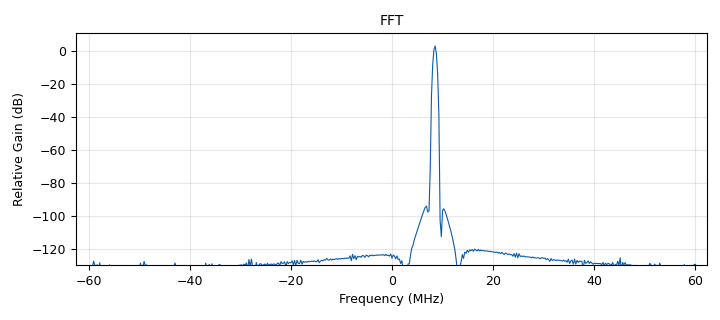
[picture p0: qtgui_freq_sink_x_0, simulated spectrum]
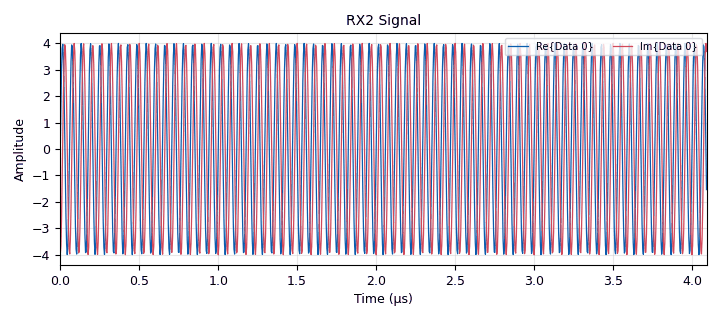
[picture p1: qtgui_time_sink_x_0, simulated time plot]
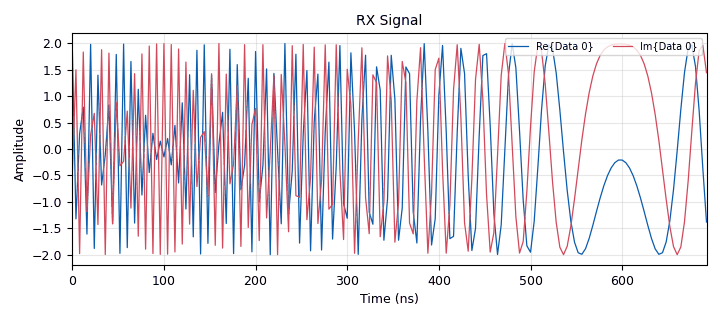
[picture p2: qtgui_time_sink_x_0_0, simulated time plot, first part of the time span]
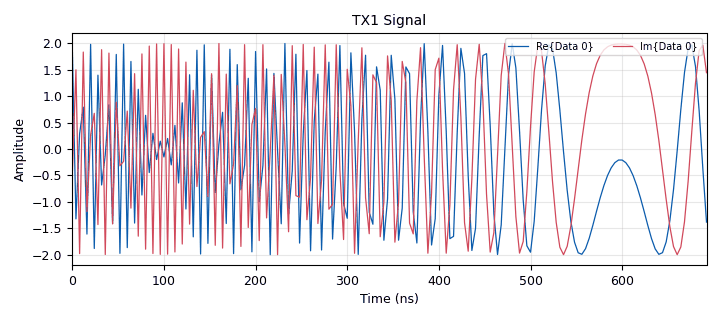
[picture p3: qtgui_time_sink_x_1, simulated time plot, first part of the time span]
options:
  parameters:
    author: haocheng
    generate_options: qt_gui
    id: FMCW_Sim
    output_language: python
    title: FMCW_Simulation
  states: {}

blocks:
- name: SweepTime
  id: variable
  parameters:
    comment: FMCW sweep time, frequency=1/sweeptime
    value: '1e-5'
  states: {}
- name: Sweeptime
  id: variable_qtgui_range
  parameters:
    label: Sweep Time (s)
    orient: Qt.Horizontal
    start: '1e-6'
    step: '1e-6'
    stop: '1e-2'
    value: '1e-6'
  states: {}
- name: USRP_frequency
  id: variable
  parameters:
    value: 4e9
  states: {}
- name: amplitude
  id: variable
  parameters:
    value: '2'
  states: {}
- name: bandwidth
  id: variable
  parameters:
    value: 125e6
  states: {}
- name: delay_samp
  id: variable_qtgui_range
  parameters:
    label: Delay Samples
    orient: Qt.Horizontal
    rangeType: int
    start: '0'
    step: '1'
    stop: '10000'
    value: '17'
  states: {}
- name: rx_gain
  id: variable
  parameters:
    value: '40'
  states: {}
- name: samp_rate
  id: variable
  parameters:
    value: int(250e6)
  states: {}
- name: tx_gain
  id: variable
  parameters:
    value: '40'
  states: {}
- name: analog_sig_source_x_0
  id: analog_sig_source_x
  parameters:
    amp: amplitude
    freq: 1/Sweeptime
    offset: '0'
    phase: '0'
    samp_rate: samp_rate
    type: float
    waveform: analog.GR_SAW_WAVE
  states: {}
- name: blocks_delay_0
  id: blocks_delay
  parameters:
    delay: delay_samp
    type: complex
  states: {}
- name: blocks_head_0
  id: blocks_head
  parameters:
    comment: N_head = T_capture * Fs
    num_items: int(25e6)
    type: complex
  states: {}
- name: blocks_multiply_conjugate_cc_0
  id: blocks_multiply_conjugate_cc
  parameters: {}
  states: {}
- name: blocks_skiphead_0
  id: blocks_skiphead
  parameters:
    comment: N_skip = T_stable * Fs
    num_items: int(2.5e6)
    type: complex
  states: {}
- name: blocks_vco_c_0
  id: blocks_vco_c
  parameters:
    amplitude: amplitude
    comment: |-
      sensitivity=(2pi*bandwidth)/voltage range
      V_max = signal Amplitude
      V_min = V_max - offset
    minoutbuf: '24000'
    samp_rate: samp_rate
    sensitivity: bandwidth*cmath.pi*2
  states: {}
- name: import_0_0
  id: import
  parameters:
    imports: import cmath
  states: {}
- name: low_pass_filter_0
  id: low_pass_filter
  parameters:
    beta: '6.26'
    comment: cutoff frequency = 2BR_max / c T_sweep
    cutoff_freq: bandwidth
    decim: '1'
    gain: '1'
    samp_rate: samp_rate
    type: fir_filter_ccf
    width: 30e3
    win: firdes.WIN_HAMMING
  states: {}
- name: qtgui_freq_sink_x_0
  id: qtgui_freq_sink_x
  parameters:
    autoscale: 'True'
    average: '0.2'
    bw: bandwidth
    fc: '0'
    fftsize: '512'
    grid: 'True'
    name: '"FFT"'
    type: complex
    update_time: '0.2'
    wintype: firdes.WIN_BLACKMAN_hARRIS
  states: {}
- name: qtgui_time_sink_x_0
  id: qtgui_time_sink_x
  parameters:
    autoscale: 'True'
    name: '"RX2 Signal"'
    size: '1024'
    srate: samp_rate
    type: complex
  states: {}
- name: qtgui_time_sink_x_0_0
  id: qtgui_time_sink_x
  parameters:
    autoscale: 'True'
    name: '"RX Signal"'
    size: '1024'
    srate: samp_rate
    type: complex
  states: {}
- name: qtgui_time_sink_x_1
  id: qtgui_time_sink_x
  parameters:
    autoscale: 'True'
    name: '"TX1 Signal"'
    size: '1024'
    srate: samp_rate
    type: complex
  states: {}
- name: uhd_usrp_sink_1
  id: uhd_usrp_sink
  parameters:
    ant0: '"TX/RX"'
    bw0: bandwidth
    center_freq0: USRP_frequency
    clock_source0: external
    dev_addr: '"addr0=192.168.120.2, master_clock_rate=250e6"'
    gain0: tx_gain
    minoutbuf: '24000'
    norm_gain0: 'False'
    samp_rate: samp_rate
    sd_spec0: '"A:0"'
    sync: none
    time_source0: external
    type: fc32
  states: {state: disabled}
- name: uhd_usrp_source_0_0
  id: uhd_usrp_source
  parameters:
    ant0: RX2
    bw0: bandwidth
    center_freq0: USRP_frequency
    clock_source0: external
    comment: |-
      uhd.tune_request(usrp_freq, rf_freq = usrp_freq - lo_offset, rf_freq_policy=uhd.tune_request.POLICY_MANUAL)
      recv_frame_size=65536,num_recv_frames=1024
    dc_offs_enb0: 'True'
    dev_addr: '"addr=192.168.120.2,master_clock_rate=250e6"'
    gain0: rx_gain
    iq_imbal_enb0: 'True'
    minoutbuf: '24000'
    norm_gain0: 'False'
    samp_rate: samp_rate
    sd_spec0: '"A:0"'
    sync: pc_clock
    time_source0: external
    type: fc32
  states: {state: disabled}
- name: virtual_sink_0
  id: virtual_sink
  parameters:
    stream_id: Saw Tooth
  states: {}

connections:
- [analog_sig_source_x_0, '0', blocks_vco_c_0, '0']
- [analog_sig_source_x_0, '0', virtual_sink_0, '0']
- [blocks_delay_0, '0', blocks_multiply_conjugate_cc_0, '1']
- [blocks_head_0, '0', low_pass_filter_0, '0']
- [blocks_multiply_conjugate_cc_0, '0', blocks_skiphead_0, '0']
- [blocks_skiphead_0, '0', blocks_head_0, '0']
- [blocks_vco_c_0, '0', blocks_delay_0, '0']
- [blocks_vco_c_0, '0', blocks_multiply_conjugate_cc_0, '0']
- [blocks_vco_c_0, '0', qtgui_time_sink_x_0_0, '0']
- [blocks_vco_c_0, '0', qtgui_time_sink_x_1, '0']
- [blocks_vco_c_0, '0', uhd_usrp_sink_1, '0']
- [low_pass_filter_0, '0', qtgui_freq_sink_x_0, '0']
- [low_pass_filter_0, '0', qtgui_time_sink_x_0, '0']
- [uhd_usrp_source_0_0, '0', blocks_delay_0, '0']
- [uhd_usrp_source_0_0, '0', qtgui_time_sink_x_0_0, '0']

metadata:
  file_format: 1
